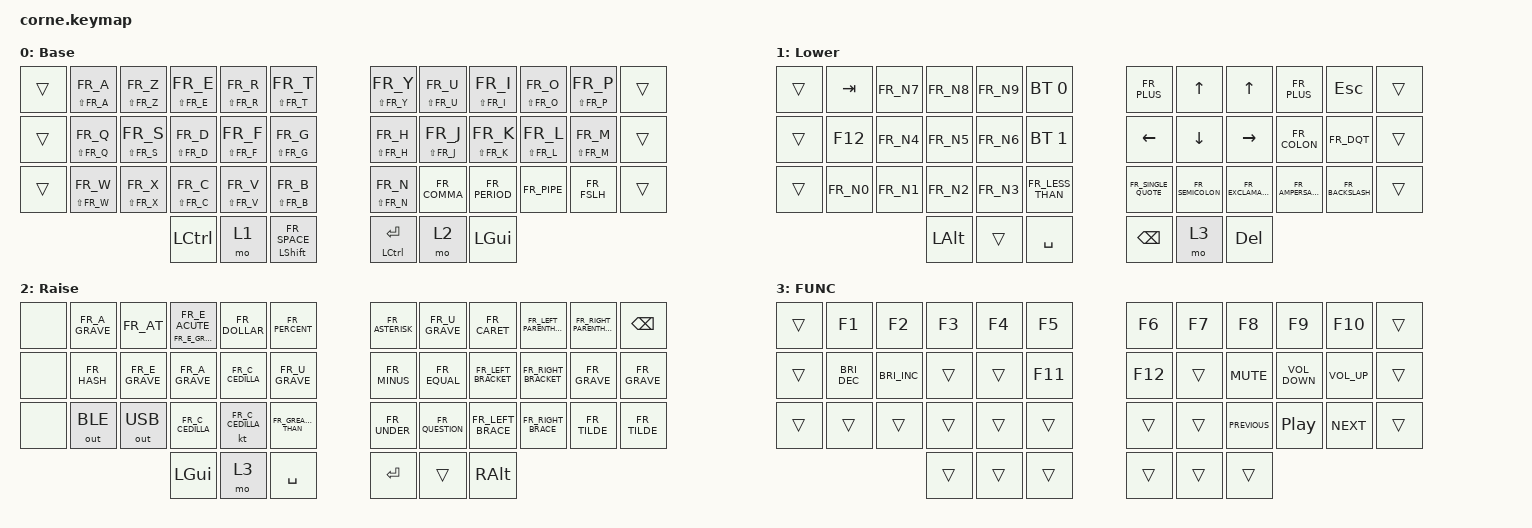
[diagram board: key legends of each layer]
/*
 * Copyright (c) 2020 The ZMK Contributors
 *
 * SPDX-License-Identifier: MIT
 */

#include "keys_fr.h"
#include <behaviors.dtsi>
#include <dt-bindings/zmk/bt.h>
#include <dt-bindings/zmk/keys.h>
#include <dt-bindings/zmk/keys.h>
#include <dt-bindings/zmk/outputs.h>

&mt {
    tapping-term-ms = <300>;
    flavor = "tap-preferred";
};

/ {
    keymap {
        compatible = "zmk,keymap";

        default_layer {
            // -----------------------------------------------------------------------------------------
            // |  TAB |  Q  |  W  |  E  |  R  |  T  |   |  Y  |  U   |  I  |  O  |  P  | BKSP |
            // | CTRL |  A  |  S  |  D  |  F  |  G  |   |  H  |  J   |  K  |  L  |  ;  |  '   |
            // | SHFT |  Z  |  X  |  C  |  V  |  B  |   |  N  |  M   |  ,  |  .  |  /  | ESC  |
            //                    | GUI | LWR | SPC |   | ENT | RSE  | ALT |

            label = "Base";
            bindings = <
&trans  &mt LS(FR_A) FR_A  &mt LS(FR_Z) FR_Z  &mt LS(FR_E) FR_E  &mt LS(FR_R) FR_R  &mt LS(FR_T) FR_T          &mt LS(FR_Y) FR_Y       &mt LS(FR_U) FR_U  &mt LS(FR_I) FR_I  &mt LS(FR_O) FR_O  &mt LS(FR_P) FR_P  &trans
&trans  &mt LS(FR_Q) FR_Q  &mt LS(FR_S) FR_S  &mt LS(FR_D) FR_D  &mt LS(FR_F) FR_F  &mt LS(FR_G) FR_G          &mt LS(FR_H) FR_H       &mt LS(FR_J) FR_J  &mt LS(FR_K) FR_K  &mt LS(FR_L) FR_L  &mt LS(FR_M) FR_M  &trans
&trans  &mt LS(FR_W) FR_W  &mt LS(FR_X) FR_X  &mt LS(FR_C) FR_C  &mt LS(FR_V) FR_V  &mt LS(FR_B) FR_B          &mt LS(FR_N) FR_N       &kp FR_COMMA       &kp FR_PERIOD      &kp FR_PIPE        &kp FR_FSLH        &trans
                                              &kp LCTRL          &mo 1              &mt LEFT_SHIFT FR_SPACE    &mt LEFT_CONTROL ENTER  &mo 2              &kp LGUI
            >;
        };

        lower_layer {
            // -----------------------------------------------------------------------------------------
            // |  TAB |  1  |  2  |  3  |  4  |  5  |   |  6  |  7  |  8  |  9  |  0  | BKSP |
            // | BTCLR| BT1 | BT2 | BT3 | BT4 | BT5 |   | LFT | DWN |  UP | RGT |     |      |
            // | SHFT |     |     |     |     |     |   |     |     |     |     |     |      |
            //                    | GUI |     | SPC |   | ENT |     | ALT |

            label = "Lower";
            bindings = <
&trans  &kp TAB    &kp FR_N7  &kp FR_N8     &kp FR_N9  &bt BT_SEL 0        &kp FR_PLUS          &kp UP_ARROW      &kp UP_ARROW        &kp FR_PLUS       &kp ESCAPE        &trans
&trans  &kp F12    &kp FR_N4  &kp FR_N5     &kp FR_N6  &bt BT_SEL 1        &kp LEFT_ARROW       &kp DOWN_ARROW    &kp RIGHT_ARROW     &kp FR_COLON      &kp FR_DQT        &trans
&trans  &kp FR_N0  &kp FR_N1  &kp FR_N2     &kp FR_N3  &kp FR_LESS_THAN    &kp FR_SINGLE_QUOTE  &kp FR_SEMICOLON  &kp FR_EXCLAMATION  &kp FR_AMPERSAND  &kp FR_BACKSLASH  &trans
                              &kp LEFT_ALT  &trans     &kp SPACE           &kp BACKSPACE        &mo 3             &kp DEL
            >;
        };

        raise_layer {
            // -----------------------------------------------------------------------------------------
            // |  TAB |  !  |  @  |  #  |  $  |  %  |   |  ^  |  &  |  *  |  (  |  )  | BKSP |
            // | CTRL |     |     |     |     |     |   |  -  |  =  |  [  |  ]  |  \  |  `   |
            // | SHFT |     |     |     |     |     |   |  _  |  +  |  {  |  }  | "|" |  ~   |
            //                    | GUI |     | SPC |   | ENT |     | ALT |

            label = "Raise";
            bindings = <
&none  &kp FR_A_GRAVE  &kp FR_AT       &mt FR_E_GRAVE FR_E_ACUTE  &kp FR_DOLLAR     &kp FR_PERCENT         &kp FR_ASTERISK  &kp FR_U_GRAVE   &kp FR_CARET         &kp FR_LEFT_PARENTHESIS  &kp FR_RIGHT_PARENTHESIS  &kp BSPC
&none  &kp FR_HASH     &kp FR_E_GRAVE  &kp FR_A_GRAVE             &kp FR_C_CEDILLA  &kp FR_U_GRAVE         &kp FR_MINUS     &kp FR_EQUAL     &kp FR_LEFT_BRACKET  &kp FR_RIGHT_BRACKET     &kp FR_GRAVE              &kp FR_GRAVE
&none  &out OUT_BLE    &out OUT_USB    &kp FR_C_CEDILLA           &kt FR_C_CEDILLA  &kp FR_GREATER_THAN    &kp FR_UNDER     &kp FR_QUESTION  &kp FR_LEFT_BRACE    &kp FR_RIGHT_BRACE       &kp FR_TILDE              &kp FR_TILDE
                                       &kp LGUI                   &mo 3             &kp SPACE              &kp RET          &trans           &kp RALT
            >;
        };

        FUNC {
            bindings = <
&trans  &kp F1                &kp F2                &kp F3  &kp F4  &kp F5     &kp F6   &kp F7  &kp F8          &kp F9             &kp F10          &trans
&trans  &kp C_BRIGHTNESS_DEC  &kp C_BRIGHTNESS_INC  &trans  &trans  &kp F11    &kp F12  &trans  &kp K_MUTE      &kp C_VOLUME_DOWN  &kp C_VOLUME_UP  &trans
&trans  &trans                &trans                &trans  &trans  &trans     &trans   &trans  &kp C_PREVIOUS  &kp C_PLAY_PAUSE   &kp C_NEXT       &trans
                                                    &trans  &trans  &trans     &trans   &trans  &trans
            >;
        };
    };
};
